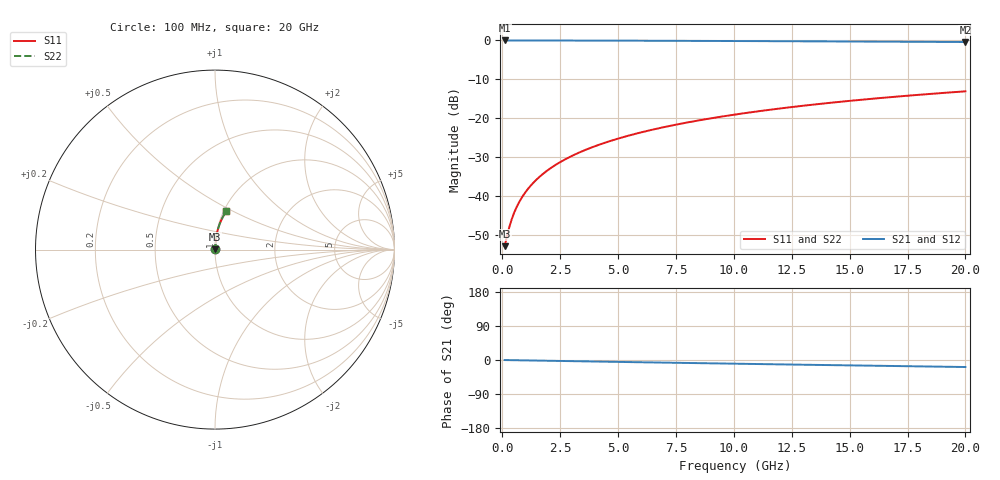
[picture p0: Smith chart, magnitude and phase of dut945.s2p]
! Touchstone file exported from HFSS 2024.1.0
!  File:  C:/UserFiles/LocalFiles/RDL_TSV_Batchsim/temp_RDL_bottom_945_1779941921.aedt
!  Generated:  12:21:31 PM May 28, 2026
!  Design:  RDL_bottom
!  Project:  temp_RDL_bottom_945_1779941921
!  Setup:  Setup1
!  Solution:  Sweep
! Variables:
!  dtsv = 10.80580581um
!  hbump = 3um
!  htsv = 92.57um
!  ldown = 224.82um
!  lrdl = 100um
!  p = 40
!  p1 = 40.62um
!  rhole = 1um
!  t = 450um
!  tdown = 3.14um
!  trdl = 3.915915916um
!  wdown = 14.17um
!  wrdl = 20um
# GHz S MA R 50.000000
! Terminal data exported
! Port[1] = RDL1_T1
! Port[2] = RDL1_T2
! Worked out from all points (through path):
!   200 points, 100 MHz to 20 GHz, reference 50 ohm
!   highest |S21| = -0.02 dB at 100 MHz (marker M1); lowest = -0.4 dB at 20 GHz (marker M2)
!   group delay of S21, straight-line fit = 2.57 ps
!   lowest |S11| = -52.8 dB at 100 MHz (marker M3), VSWR 1.00, Z = 50.2 + j0.116 ohm
!   |S11| at or under -10 dB: start of sweep to end of sweep
!   |S22| runs from -52.8 to -13.1 dB; largest |S21 - S12| = 4.4e-15
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0.1  0.002288 30.2  0.998 -0.1  0.998 -0.1  0.002288 30.2
! Gamma 0 0 0 0
! Port Impedance 50 0 50 0
0.3  0.003989 58.9  0.9979 -0.3  0.9979 -0.3  0.003989 58.9
0.4  0.004993 65.0  0.9979 -0.4  0.9979 -0.4  0.004993 65.0
0.5  0.006022 69.0  0.9978 -0.5  0.9978 -0.5  0.006022 69.0
0.6  0.007061 71.8  0.9977 -0.6  0.9977 -0.6  0.007061 71.8
0.8  0.009158 75.5  0.9976 -0.8  0.9976 -0.8  0.009158 75.5
1.1  0.01233 78.8  0.9975 -1.1  0.9975 -1.1  0.01233 78.8
1.3  0.01446 80.2  0.9973 -1.3  0.9973 -1.3  0.01446 80.2
1.6  0.01768 81.6  0.9971 -1.6  0.9971 -1.6  0.01768 81.6
2.1  0.02308 83.1  0.9967 -2.1  0.9967 -2.1  0.02308 83.1
2.7  0.02959 84.0  0.9961 -2.7  0.9961 -2.7  0.02959 84.0
3.5  0.03835 84.5  0.9951 -3.5  0.9951 -3.5  0.03835 84.5
4.2  0.04605 84.7  0.9941 -4.2  0.9941 -4.2  0.04605 84.7
5  0.05492 84.6  0.9928 -5.0  0.9928 -5.0  0.05492 84.6
5.9  0.06495 84.4  0.9911 -5.9  0.9911 -5.9  0.06495 84.4
6.8  0.07504 84.0  0.9892 -6.8  0.9892 -6.8  0.07504 84.0
8.3  0.09196 83.2  0.9858 -8.2  0.9858 -8.2  0.09196 83.2
10.1  0.1123 81.9  0.9813 -9.8  0.9813 -9.8  0.1123 81.9
11.7  0.1305 80.7  0.9771 -11.3  0.9771 -11.3  0.1305 80.7
13.4  0.1496 79.4  0.9725 -12.8  0.9725 -12.8  0.1496 79.4
16.7  0.1863 76.5  0.963 -15.7  0.963 -15.7  0.1863 76.5
20  0.222 73.7  0.9529 -18.5  0.9529 -18.5  0.222 73.7
